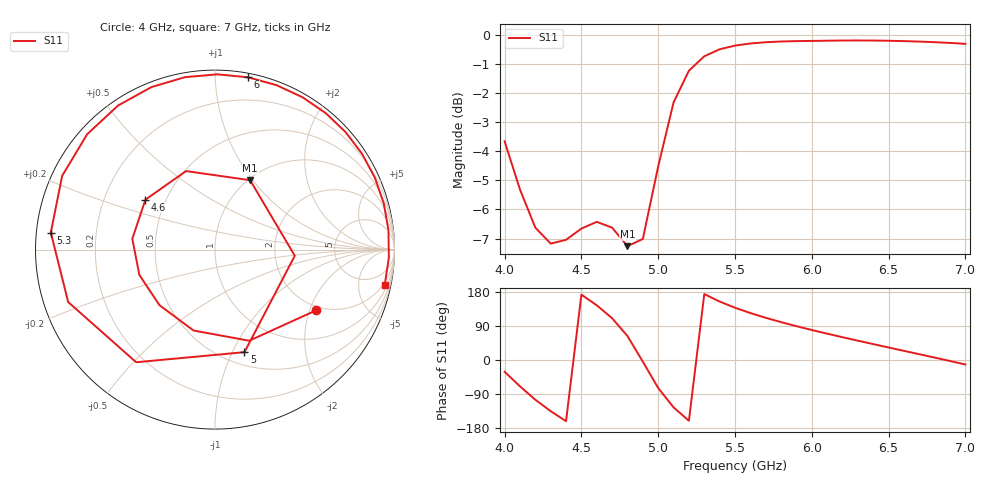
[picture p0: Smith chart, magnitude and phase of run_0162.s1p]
! Touchstone file exported from HFSS 2024.2.0
!  File:  C:/Users/wsak9/Desktop/Sim Fast/Widenad Patch/WP_AI_V1_sweep.aedt
!  Generated:  09:39:19 PM Oct 13, 2026
!  Design:  A1_model
!  Project:  WP_AI_V1_sweep
!  Setup:  Setup1
!  Solution:  Sweep
! Variables:
!  Air_gap = 4.25mm
!  Curve_Amp1 = 1.26
!  Curve_len1 = 1
!  Curve_pos = 12.88mm
!  Extra = 6.48mm
!  H_sub = 0.79mm
!  L_Patch = 21.76mm
!  L_Patch1 = 18.78mm
!  Sx = 4.36mm
!  Sy = 0.82mm
!  WS = 0.33mm
!  W_Patch = 13.06mm
!  W_Patch1 = 12.3mm
!Data is not renormalized
# GHz S MA
! Terminal data exported
! Port[1] = 1
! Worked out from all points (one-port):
!   31 points, 4 GHz to 7 GHz, reference per port
!   lowest |S11| = -7.3 dB at 4.8 GHz (marker M1), VSWR 2.53
!   |S11| at or under -10 dB: nowhere
!   S11 on the Smith chart (normalised r, x): 4 GHz: 1.86, -2.21; 4.6 GHz: 0.39, +0.28; 5 GHz: 0.63, -1.12; 5.3 GHz: 0.04, +0.05; 6 GHz: 0.03, +1.21; 7 GHz: 1.58, -9.37
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4  0.6566 -31.1
4.1  0.5424 -69.4
4.2  0.4664 -104.8
4.3  0.4378 -135.0
4.4  0.4444 -161.5
4.5  0.4646 172.5
4.6  0.4772 144.3
4.7  0.4663 110.2
4.8  0.4333 63.2
4.9  0.4459 -4.4
5  0.5946 -74.0
5.1  0.766 -125.0
5.2  0.8686 -160.3
5.3  0.9197 174.1
5.4  0.9455 154.2
5.5  0.9594 137.9
5.6  0.9675 123.9
5.7  0.9723 111.4
5.8  0.9751 99.9
5.9  0.9767 89.2
6  0.9773 79.1
6.1  0.9782 69.5
6.3  0.9791 51.0
6.5  0.978 33.0
6.7  0.9748 15.3
6.8  0.9725 6.4
6.9  0.9696 -2.7
7  0.966 -11.9
